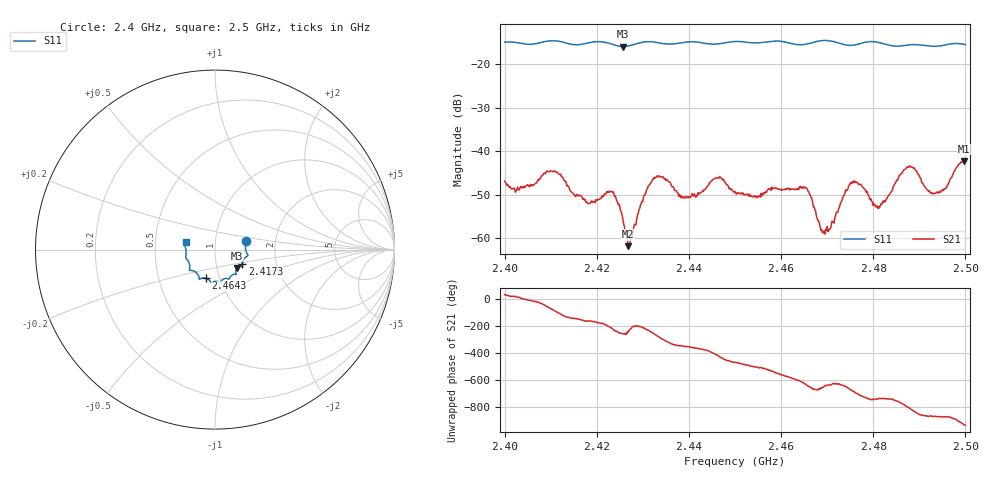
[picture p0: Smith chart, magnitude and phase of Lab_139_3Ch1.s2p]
# Hz S RI R 50
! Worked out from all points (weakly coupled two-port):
!   601 points, 2.4 GHz to 2.5 GHz, reference 50 ohm
!   highest |S21| = -42.25 dB at 2.4997 GHz (marker M1); lowest = -61.8 dB at 2.4268 GHz (marker M2)
!   lowest |S11| = -15.9 dB at 2.4257 GHz (marker M3), VSWR 1.38, Z = 62.4 - j13.1 ohm
!   |S11| at or under -10 dB: start of sweep to end of sweep
!   S12 and S22 are empty: the file has one direction only
!   S11 on the Smith chart (normalised r, x): 2.4 GHz: 1.41, +0.14; 2.4173 GHz: 1.34, -0.23; 2.4643 GHz: 0.86, -0.28; 2.5 GHz: 0.72, +0.06
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2.4e9  0.1732 0.0497  0.00387 0.00239  0 0  0 0
2.4105e9  0.1838 -0.0334  0.000921 -0.00574  0 0  0 0
2.416667e9  0.1528 -0.0749  -0.00276 -0.00132  0 0  0 0
2.417333e9  0.1522 -0.0822  -0.00262 -0.000884  0 0  0 0
2.423167e9  0.1438 -0.0936  -0.00285 0.00189  0 0  0 0
2.425667e9  0.1224 -0.1025  -0.000378 0.00163  0 0  0 0
2.426833e9  0.1169 -0.1128  -0.000472 0.000659  0 0  0 0
2.430667e9  0.1189 -0.1376  -0.00245 0.00233  0 0  0 0
2.433333e9  0.1127 -0.1366  0.000649 0.00519  0 0  0 0
2.438833e9  0.0812 -0.1589  0.00283 0.000588  0 0  0 0
2.446333e9  0.0448 -0.1661  0.00262 -0.00412  0 0  0 0
2.45e9  0.0298 -0.1807  -0.000989 -0.00331  0 0  0 0
2.464333e9  -0.05 -0.1604  -0.00137 0.00354  0 0  0 0
2.466667e9  -0.0761 -0.1599  0.00127 0.00257  0 0  0 0
2.469333e9  -0.0877 -0.1667  0.000315 0.00116  0 0  0 0
2.475333e9  -0.1099 -0.1238  0.00288 0.00313  0 0  0 0
2.480833e9  -0.1425 -0.1102  0.00225 -0.000701  0 0  0 0
2.483333e9  -0.1407 -0.0896  0.00298 -0.00087  0 0  0 0
2.487667e9  -0.1588 -0.0527  0.000952 -0.00645  0 0  0 0
2.4935e9  -0.161 -0.0074  -0.00271 -0.00188  0 0  0 0
2.499667e9  -0.1655 0.0398  -0.00697 0.00332  0 0  0 0
2.5e9  -0.1637 0.0421  -0.00652 0.00411  0 0  0 0
